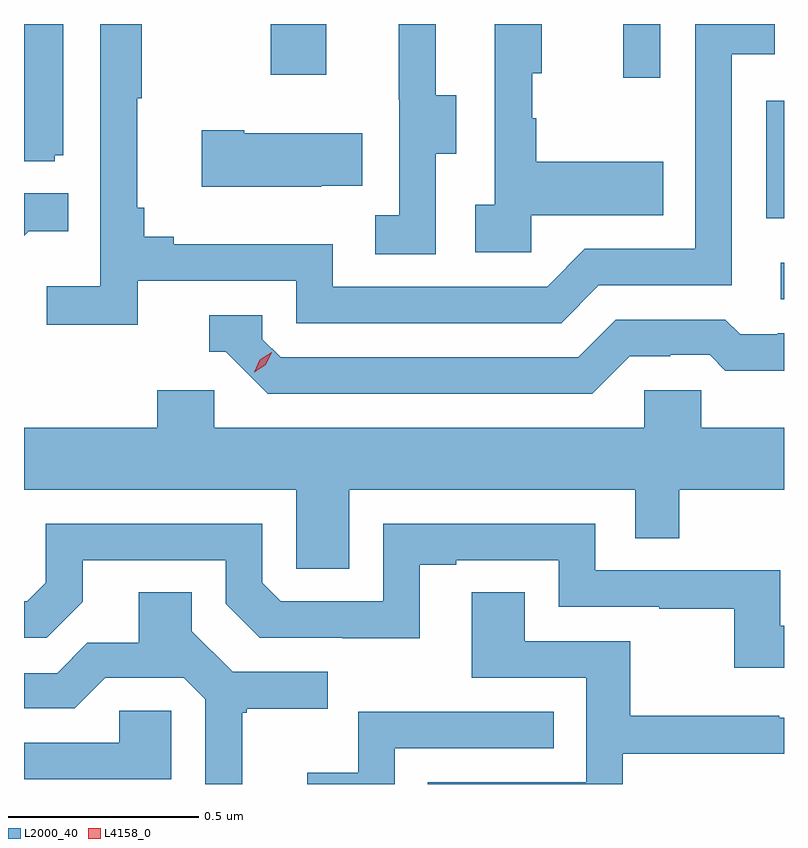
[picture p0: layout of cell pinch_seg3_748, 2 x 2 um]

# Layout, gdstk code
import gdstk
lib = gdstk.Library(unit=1e-6, precision=1e-09)
def R(c, l, rs):  # rectangles x0, y0, x1, y1
    for r in rs: c.add(gdstk.rectangle(r[:2], r[2:], *l))
def P(c, l, *ps):  # polygons
    for p in ps: c.add(gdstk.Polygon(p, *l))
L2000_40 = (2000, 40)
L4158_0 = (4158, 0)

pinch_seg3_748 = lib.new_cell('pinch_seg3_748')
R(pinch_seg3_748, L2000_40, [(870.909,741.378,870.917,741.474), (870.87,741.591,870.917,741.9), (870.494,741.96,870.591,742.102), (869.566,741.969,869.713,742.102)])
P(pinch_seg3_748, L2000_40, [(868.998,741.756),(869.02,741.756),(869.02,742.102),(868.917,742.102),(868.917,741.741),(868.998,741.741)],
  [(870,741.76),(870.055,741.76),(870.055,741.915),(870.001,741.915),(870.001,742.102),(869.903,742.102),(869.903,741.903),(869.904,741.903),(869.904,741.599),(869.841,741.599),(869.841,741.496),(870,741.496)],
  [(870.252,741.599),(870.599,741.599),(870.599,741.739),(870.265,741.739),(870.265,741.854),(870.255,741.854),(870.255,741.972),(870.28,741.972),(870.28,742.102),(870.156,742.102),(870.156,741.626),(870.105,741.626),(870.105,741.501),(870.252,741.501)],
  [(869.216,741.426),(869.634,741.426),(869.634,741.315),(870.331,741.315),(870.43,741.414),(870.78,741.414),(870.78,742.023),(870.893,742.023),(870.893,742.102),(870.684,742.102),(870.684,741.51),(870.393,741.51),(870.294,741.411),(869.73,741.411),(869.73,741.523),(869.311,741.523),(869.311,741.542),(869.234,741.542),(869.234,741.619),(869.215,741.619),(869.215,741.907),(869.227,741.907),(869.227,742.102),(869.118,742.102),(869.118,741.412),(868.977,741.412),(868.977,741.31),(869.216,741.31)],
  [(869.699,741.677),(869.807,741.677),(869.807,741.814),(869.497,741.814),(869.497,741.822),(869.385,741.822),(869.385,741.674),(869.699,741.674)],
  [(868.929,741.557),(869.033,741.557),(869.033,741.656),(868.917,741.656),(868.917,741.545)],
  [(870.511,741.228),(870.618,741.228),(870.618,741.231),(870.721,741.231),(870.763,741.189),(870.917,741.189),(870.917,741.288),(870.901,741.288),(870.901,741.285),(870.802,741.285),(870.763,741.324),(870.474,741.324),(870.375,741.225),(869.592,741.225),(869.544,741.273),(869.544,741.336),(869.405,741.336),(869.405,741.24),(869.448,741.24),(869.559,741.129),(870.412,741.129)],
  [(869.773,740.876),(870.525,740.876),(870.525,740.749),(870.641,740.749),(870.641,740.876),(870.917,740.876),(870.917,741.04),(870.699,741.04),(870.699,741.138),(870.549,741.138),(870.549,741.04),(869.418,741.04),(869.418,741.138),(869.267,741.138),(869.267,741.04),(868.917,741.04),(868.917,740.876),(869.634,740.876),(869.634,740.668),(869.773,740.668)],
  [(870.917,740.518),(870.907,740.518),(870.907,740.664),(870.42,740.664),(870.42,740.787),(869.862,740.787),(869.862,740.583),(869.592,740.583),(869.544,740.631),(869.544,740.787),(868.974,740.787),(868.974,740.631),(868.926,740.583),(868.917,740.583),(868.917,740.487),(868.977,740.487),(869.071,740.581),(869.071,740.691),(869.448,740.691),(869.448,740.577),(869.538,740.487),(869.754,740.487),(869.754,740.486),(869.959,740.486),(869.959,740.679),(870.055,740.679),(870.055,740.691),(870.324,740.691),(870.324,740.568),(870.589,740.568),(870.589,740.563),(870.786,740.563),(870.786,740.408),(870.917,740.408)],
  [(869.491,740.289),(869.503,740.289),(869.503,740.3),(869.716,740.3),(869.716,740.397),(869.466,740.397),(869.359,740.504),(869.359,740.606),(869.219,740.606),(869.219,740.474),(869.084,740.474),(869.004,740.394),(868.917,740.394),(868.917,740.301),(869.05,740.301),(869.131,740.382),(869.337,740.382),(869.394,740.325),(869.394,740.102),(869.491,740.102)],
  [(870.492,740.181),(870.917,740.181),(870.917,740.277),(870.905,740.277),(870.905,740.282),(870.512,740.282),(870.512,740.478),(870.235,740.478),(870.235,740.606),(870.095,740.606),(870.095,740.382),(870.396,740.382),(870.396,740.106),(869.98,740.106),(869.98,740.102),(870.492,740.102)],
  [(869.304,740.295),(869.167,740.295),(869.167,740.211),(868.917,740.211),(868.917,740.115),(869.304,740.115)],
  [(869.892,740.196),(870.311,740.196),(870.311,740.292),(869.796,740.292),(869.796,740.131),(869.663,740.131),(869.663,740.102),(869.892,740.102)])
P(pinch_seg3_748, L4158_0, [(869.523,741.185),(869.523,741.186),(869.538,741.218),(869.569,741.238),(869.569,741.238),(869.569,741.238),(869.553,741.205),(869.523,741.185)])

lib.write_gds('pinch_seg3_748.gds')
